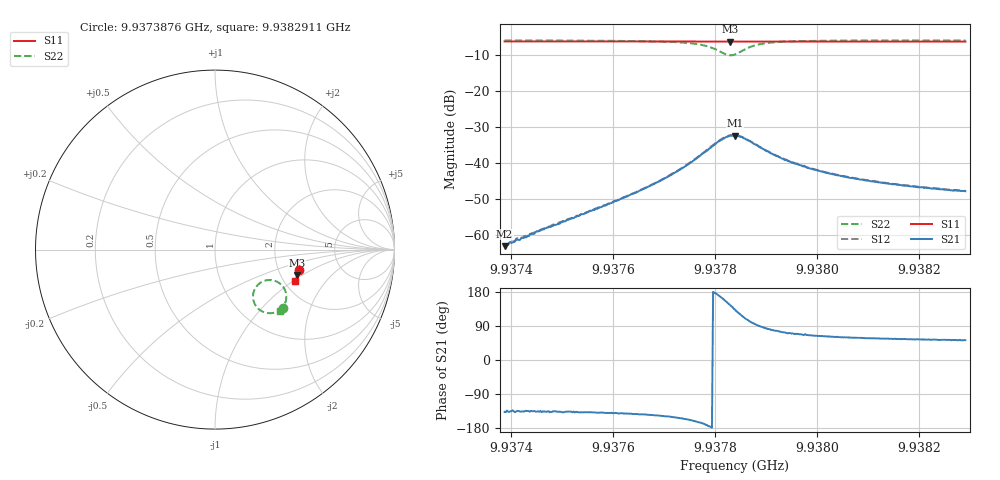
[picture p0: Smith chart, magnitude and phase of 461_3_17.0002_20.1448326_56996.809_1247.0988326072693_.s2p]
#  HZ  S  RI  R  50.00
! Rohde & Schwarz Vector Network Analyzer
! Rohde-Schwarz,ZNB20-2Port,1311601062101988,3.16
! Created: UTC 3/20/2024, 11:12:47 PM
! freq[Hz]  re:S11  im:S11  re:S21  im:S21  re:S12  im:S12  re:S22  im:S22
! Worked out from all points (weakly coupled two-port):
!   401 points, 9.9373876 GHz to 9.9382911 GHz, reference 50 ohm
!   highest |S21| = -32.47 dB at 9.9378394 GHz (marker M1); lowest = -63.1 dB at 9.9373876 GHz (marker M2)
!   lowest |S11| = -6.4 dB at 9.9378303 GHz (marker M3), VSWR 2.84, Z = 122 - j45.1 ohm
!   |S11| at or under -10 dB: nowhere
!   |S22| runs from -10.2 to -6.1 dB; largest |S21 - S12| = 0.0011
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9.93738765e9  0.4695 -0.1143  -0.000509 -0.000476  -0.000489 -0.000491  0.3784 -0.3227
9.93741475e9  0.4688 -0.1161  -0.000597 -0.000607  -0.000625 -0.000621  0.3763 -0.3246
9.93745315e9  0.4681 -0.1187  -0.00079 -0.000775  -0.000818 -0.000778  0.3726 -0.3277
9.93753898e9  0.4662 -0.1244  -0.00144 -0.00129  -0.00143 -0.00128  0.363 -0.3351
9.93762481e9  0.4641 -0.1302  -0.00261 -0.00209  -0.00266 -0.00208  0.3485 -0.3439
9.93769031e9  0.4625 -0.1346  -0.00459 -0.00299  -0.00471 -0.00298  0.3283 -0.3513
9.93774e9  0.4609 -0.138  -0.00793 -0.00365  -0.00816 -0.00358  0.2985 -0.3542
9.93778066e9  0.4592 -0.1406  -0.0139 -0.00243  -0.0142 -0.00212  0.2513 -0.3377
9.93779647e9  0.4584 -0.1415  -0.0171 0.000103  -0.0177 0.00046  0.2278 -0.3135
9.93781228e9  0.4575 -0.142  -0.0201 0.00527  -0.0202 0.00588  0.2124 -0.2692
9.93783035e9  0.4569 -0.142  -0.0192 0.0138  -0.0191 0.0147  0.2327 -0.2035
9.93783938e9  0.4571 -0.1422  -0.0162 0.0174  -0.0158 0.0183  0.2617 -0.1796
9.93785068e9  0.4574 -0.1425  -0.0111 0.0199  -0.0106 0.0205  0.3044 -0.1692
9.93786649e9  0.4576 -0.1434  -0.00463 0.0196  -0.00423 0.0199  0.3526 -0.1826
9.93789359e9  0.4579 -0.1454  0.00103 0.0156  0.00137 0.0157  0.3893 -0.2238
9.93791618e9  0.4574 -0.1473  0.00276 0.0125  0.00297 0.0126  0.3968 -0.2509
9.93794554e9  0.457 -0.1494  0.00331 0.00983  0.00361 0.00994  0.3968 -0.2741
9.93799072e9  0.4558 -0.1527  0.00346 0.00737  0.00364 0.00738  0.3916 -0.2956
9.93806073e9  0.454 -0.1573  0.00317 0.00537  0.0033 0.0054  0.383 -0.3138
9.93814205e9  0.4518 -0.1626  0.00286 0.00421  0.00298 0.00425  0.3745 -0.3261
9.93819625e9  0.4504 -0.1661  0.00263 0.00373  0.00277 0.00373  0.3698 -0.3323
9.93829112e9  0.4476 -0.1724  0.00246 0.00318  0.00252 0.00321  0.3622 -0.3405
